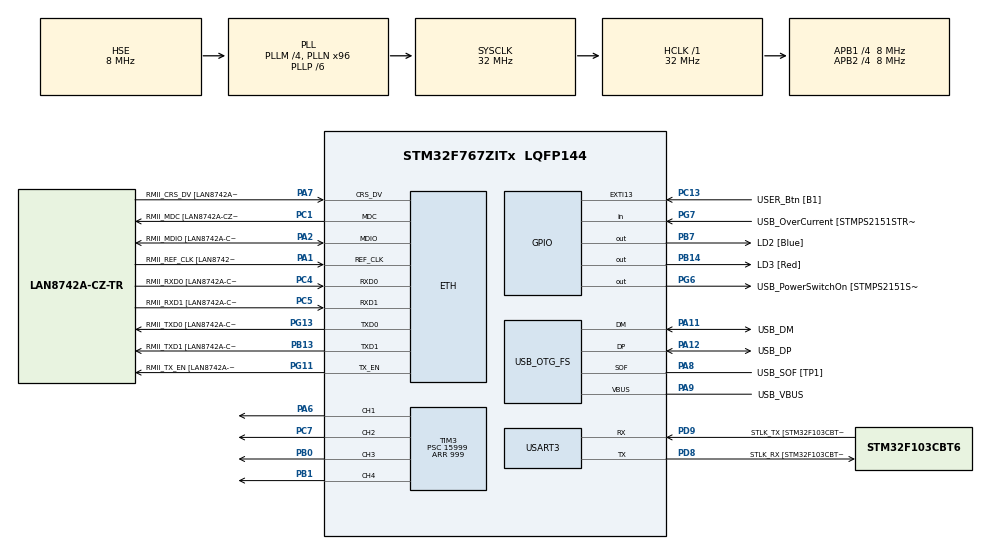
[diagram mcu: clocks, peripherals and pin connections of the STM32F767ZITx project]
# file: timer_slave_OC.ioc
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ETH.MediaInterface=HAL_ETH_RMII_MODE
ETH.PHY_Name=LAN8742A_PHY_ADDRESS
ETH.PHY_Value=0
ETH.PhyAddress=0
Mcu.Family=STM32F7
Mcu.Name=STM32F767ZITx
Mcu.Package=LQFP144
NVIC.PriorityGroup=NVIC_PRIORITYGROUP_4
NVIC.TIM3_IRQn=true\:0\:0\:false\:false\:true\:true\:true\:true
PA1.GPIO_Label=RMII_REF_CLK [LAN8742A-CZ-TR_REFCLK0]
PA1.Mode=RMII
PA1.Signal=ETH_REF_CLK
PA10.GPIO_Label=USB_ID
PA10.Signal=USB_OTG_FS_ID
PA11.GPIO_Label=USB_DM
PA11.Mode=Device_Only
PA11.Signal=USB_OTG_FS_DM
PA12.GPIO_Label=USB_DP
PA12.Mode=Device_Only
PA12.Signal=USB_OTG_FS_DP
PA13.GPIO_Label=TMS
PA13.Mode=Serial_Wire
PA13.Signal=SYS_JTMS-SWDIO
PA14.GPIO_Label=TCK
PA14.Mode=Serial_Wire
PA14.Signal=SYS_JTCK-SWCLK
PA2.GPIO_Label=RMII_MDIO [LAN8742A-CZ-TR_MDIO]
PA2.Mode=RMII
PA2.Signal=ETH_MDIO
PA6.Signal=S_TIM3_CH1
PA7.GPIO_Label=RMII_CRS_DV [LAN8742A-CZ-TR_CRS_DV]
PA7.Mode=RMII
PA7.Signal=ETH_CRS_DV
PA8.GPIO_Label=USB_SOF [TP1]
PA8.Mode=Activate_SOF_FS
PA8.Signal=USB_OTG_FS_SOF
PA9.GPIO_Label=USB_VBUS
PA9.Mode=Activate_VBUS
PA9.Signal=USB_OTG_FS_VBUS
PB0.Signal=S_TIM3_CH3
PB1.Signal=S_TIM3_CH4
PB13.GPIO_Label=RMII_TXD1 [LAN8742A-CZ-TR_TXD1]
PB13.Mode=RMII
PB13.Signal=ETH_TXD1
PB14.GPIO_Label=LD3 [Red]
PB14.Signal=GPIO_Output
PB3.GPIO_Label=SWO
PB3.Signal=SYS_JTDO-SWO
PB7.GPIO_Label=LD2 [Blue]
PB7.Signal=GPIO_Output
PC1.GPIO_Label=RMII_MDC [LAN8742A-CZ-TR_MDC]
PC1.Mode=RMII
PC1.Signal=ETH_MDC
PC13.GPIO_Label=USER_Btn [B1]
PC13.Signal=GPXTI13
PC14/OSC32_IN.Mode=LSE-External-Oscillator
PC14/OSC32_IN.Signal=RCC_OSC32_IN
PC15/OSC32_OUT.Mode=LSE-External-Oscillator
PC15/OSC32_OUT.Signal=RCC_OSC32_OUT
PC4.GPIO_Label=RMII_RXD0 [LAN8742A-CZ-TR_RXD0]
PC4.Mode=RMII
PC4.Signal=ETH_RXD0
PC5.GPIO_Label=RMII_RXD1 [LAN8742A-CZ-TR_RXD1]
PC5.Mode=RMII
PC5.Signal=ETH_RXD1
PC7.Signal=S_TIM3_CH2
PD8.GPIO_Label=STLK_RX [STM32F103CBT6_PA3]
PD8.Mode=Asynchronous
PD8.Signal=USART3_TX
PD9.GPIO_Label=STLK_TX [STM32F103CBT6_PA2]
PD9.Mode=Asynchronous
PD9.Signal=USART3_RX
PG11.GPIO_Label=RMII_TX_EN [LAN8742A-CZ-TR_TXEN]
PG11.Mode=RMII
PG11.Signal=ETH_TX_EN
PG13.GPIO_Label=RMII_TXD0 [LAN8742A-CZ-TR_TXD0]
PG13.Mode=RMII
PG13.Signal=ETH_TXD0
PG6.GPIO_Label=USB_PowerSwitchOn [STMPS2151STR_EN]
PG6.Signal=GPIO_Output
PG7.GPIO_Label=USB_OverCurrent [STMPS2151STR_FAULT]
PG7.Signal=GPIO_Input
PH0/OSC_IN.GPIO_Label=MCO [STM32F103CBT6_PA8]
PH0/OSC_IN.Mode=HSE-External-Clock-Source
PH0/OSC_IN.Signal=RCC_OSC_IN
PH1/OSC_OUT.Mode=HSE-External-Clock-Source
PH1/OSC_OUT.Signal=RCC_OSC_OUT
ProjectManager.HeapSize=0x200
ProjectManager.StackSize=0x400
ProjectManager.TargetToolchain=STM32CubeIDE
RCC.48MHZClocksFreq_Value=24000000
RCC.AHBFreq_Value=32000000
RCC.APB1CLKDivider=RCC_HCLK_DIV4
RCC.APB1Freq_Value=8000000
RCC.APB1TimFreq_Value=16000000
RCC.APB2CLKDivider=RCC_HCLK_DIV4
RCC.APB2Freq_Value=8000000
RCC.APB2TimFreq_Value=16000000
RCC.CortexFreq_Value=32000000
RCC.HCLKFreq_Value=32000000
RCC.HSE_VALUE=8000000
RCC.HSI_VALUE=16000000
RCC.PLLM=4
RCC.PLLMUL=RCC_PLL_MUL9
RCC.PLLN=96
RCC.PLLP=RCC_PLLP_DIV6
RCC.PLLQ=4
RCC.PRESCALERUSB=RCC_USBCLKSOURCE_PLL_DIV1_5
RCC.SYSCLKFreq_VALUE=32000000
RCC.SYSCLKSource=RCC_SYSCLKSOURCE_PLLCLK
RCC.SYSCLKSourceVirtual=RCC_SYSCLKSOURCE_PLLCLK
RCC.USBFreq_Value=48000000
RCC.VCOOutputFreq_Value=192000000
SH.S_TIM3_CH1.0=TIM3_CH1,Output Compare1 CH1
SH.S_TIM3_CH2.0=TIM3_CH2,Output Compare2 CH2
SH.S_TIM3_CH3.0=TIM3_CH3,Output Compare3 CH3
SH.S_TIM3_CH4.0=TIM3_CH4,Output Compare4 CH4
TIM3.Channel-Output\ Compare1\ CH1=TIM_CHANNEL_1
TIM3.Channel-Output\ Compare2\ CH2=TIM_CHANNEL_2
TIM3.Channel-Output\ Compare3\ CH3=TIM_CHANNEL_3
TIM3.Channel-Output\ Compare4\ CH4=TIM_CHANNEL_4
TIM3.OCMode_1=TIM_OCMODE_TOGGLE
TIM3.OCMode_2=TIM_OCMODE_TOGGLE
TIM3.OCMode_3=TIM_OCMODE_TOGGLE
TIM3.OCMode_4=TIM_OCMODE_TOGGLE
TIM3.Period=999
TIM3.Prescaler=15999
TIM3.Pulse-Output\ Compare1\ CH1=249
TIM3.Pulse-Output\ Compare2\ CH2=499
TIM3.Pulse-Output\ Compare3\ CH3=999
USART3.VirtualMode-Asynchronous=VM_ASYNC
USB_OTG_FS.VirtualMode=Device_Only
VP_TIM3_VS_ClockSourceINT.Mode=Internal
board=NUCLEO-F767ZI

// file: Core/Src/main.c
/* USER CODE BEGIN Header */
/**
  ******************************************************************************
  * @file           : main.c
  * @brief          : Main program body
  ******************************************************************************
  * @attention
  *
  * Copyright (c) 2026 STMicroelectronics.
  * All rights reserved.
  *
  * This software is licensed under terms that can be found in the LICENSE file
  * in the root directory of this software component.
  * If no LICENSE file comes with this software, it is provided AS-IS.
  *
  ******************************************************************************
  */
/* USER CODE END Header */
#include "main.h"
#include "string.h"

#if defined ( __ICCARM__ ) /*!< IAR Compiler */
#pragma location=0x2007c000
ETH_DMADescTypeDef  DMARxDscrTab[ETH_RX_DESC_CNT]; /* Ethernet Rx DMA Descriptors */
#pragma location=0x2007c0a0
ETH_DMADescTypeDef  DMATxDscrTab[ETH_TX_DESC_CNT]; /* Ethernet Tx DMA Descriptors */

#elif defined ( __CC_ARM )  /* MDK ARM Compiler */

__attribute__((at(0x2007c000))) ETH_DMADescTypeDef  DMARxDscrTab[ETH_RX_DESC_CNT]; /* Ethernet Rx DMA Descriptors */
__attribute__((at(0x2007c0a0))) ETH_DMADescTypeDef  DMATxDscrTab[ETH_TX_DESC_CNT]; /* Ethernet Tx DMA Descriptors */

#elif defined ( __GNUC__ ) /* GNU Compiler */

ETH_DMADescTypeDef DMARxDscrTab[ETH_RX_DESC_CNT] __attribute__((section(".RxDecripSection"))); /* Ethernet Rx DMA Descriptors */
ETH_DMADescTypeDef DMATxDscrTab[ETH_TX_DESC_CNT] __attribute__((section(".TxDecripSection")));   /* Ethernet Tx DMA Descriptors */
#endif

ETH_TxPacketConfig TxConfig;

ETH_HandleTypeDef heth;

TIM_HandleTypeDef htim3;

UART_HandleTypeDef huart3;

PCD_HandleTypeDef hpcd_USB_OTG_FS;

/* USER CODE BEGIN PV */
uint32_t presstime = 0;
uint32_t relase_time = 0;
uint32_t durationtime = 0;
uint8_t press = 0;
/* USER CODE END PV */

void SystemClock_Config(void);
static void MX_GPIO_Init(void);
static void MX_ETH_Init(void);
static void MX_USART3_UART_Init(void);
static void MX_USB_OTG_FS_PCD_Init(void);
static void MX_TIM3_Init(void);

/* USER CODE BEGIN 0 */
void HAL_TIM_IC_CaptureCallback(TIM_HandleTypeDef *htim)
{
    if(htim->Instance == TIM3 && htim->Channel == HAL_TIM_ACTIVE_CHANNEL_1)
    {
        // 1. Yazım hatası düzeltildi: captured_value
        uint32_t captured_value = HAL_TIM_ReadCapturedValue(htim, TIM_CHANNEL_1);

        if(press == 0) // İlk kenar (Yükselen veya Alçalan)
        {
            presstime = captured_value;
            press = 1;
        }
        else // İkinci kenar
        {
            relase_time = captured_value;

            if(relase_time >= presstime)
            {
                durationtime = relase_time - presstime;
            }
            else
            {
                /* 2. Timer 16-bit olduğu için (65535) 0xFFFF kullanılmalı */
                /* Ya da daha basitçe: */
                durationtime = (htim->Instance->ARR - presstime) + relase_time + 1;
            }
            press = 0;
        }
    }
}
/* USER CODE END 0 */

int main(void)
{

  /* MCU Configuration--------------------------------------------------------*/

  /* Reset of all peripherals, Initializes the Flash interface and the Systick. */
  HAL_Init();

  /* Configure the system clock */
  SystemClock_Config();

  /* Initialize all configured peripherals */
  MX_GPIO_Init();
  MX_ETH_Init();
  MX_USART3_UART_Init();
  MX_USB_OTG_FS_PCD_Init();
  MX_TIM3_Init();
  /* USER CODE BEGIN 2 */
HAL_TIM_OC_Start(&htim3,TIM_CHANNEL_1);
HAL_TIM_OC_Start(&htim3,TIM_CHANNEL_2);
HAL_TIM_OC_Start(&htim3,TIM_CHANNEL_3);
HAL_TIM_OC_Start(&htim3,TIM_CHANNEL_4);
  /* USER CODE END 2 */

  /* Infinite loop */
  while (1)
  {

  }
}

void SystemClock_Config(void)
{
  RCC_OscInitTypeDef RCC_OscInitStruct = {0};
  RCC_ClkInitTypeDef RCC_ClkInitStruct = {0};

  /** Configure LSE Drive Capability
  */
  HAL_PWR_EnableBkUpAccess();

  /** Configure the main internal regulator output voltage
  */
  __HAL_RCC_PWR_CLK_ENABLE();
  __HAL_PWR_VOLTAGESCALING_CONFIG(PWR_REGULATOR_VOLTAGE_SCALE3);

  /** Initializes the RCC Oscillators according to the specified parameters
  * in the RCC_OscInitTypeDef structure.
  */
  RCC_OscInitStruct.OscillatorType = RCC_OSCILLATORTYPE_HSE;
  RCC_OscInitStruct.HSEState = RCC_HSE_BYPASS;
  RCC_OscInitStruct.PLL.PLLState = RCC_PLL_ON;
  RCC_OscInitStruct.PLL.PLLSource = RCC_PLLSOURCE_HSE;
  RCC_OscInitStruct.PLL.PLLM = 4;
  RCC_OscInitStruct.PLL.PLLN = 96;
  RCC_OscInitStruct.PLL.PLLP = RCC_PLLP_DIV6;
  RCC_OscInitStruct.PLL.PLLQ = 4;
  RCC_OscInitStruct.PLL.PLLR = 2;
  if (HAL_RCC_OscConfig(&RCC_OscInitStruct) != HAL_OK)
  {
    Error_Handler();
  }

  /** Initializes the CPU, AHB and APB buses clocks
  */
  RCC_ClkInitStruct.ClockType = RCC_CLOCKTYPE_HCLK|RCC_CLOCKTYPE_SYSCLK
                              |RCC_CLOCKTYPE_PCLK1|RCC_CLOCKTYPE_PCLK2;
  RCC_ClkInitStruct.SYSCLKSource = RCC_SYSCLKSOURCE_PLLCLK;
  RCC_ClkInitStruct.AHBCLKDivider = RCC_SYSCLK_DIV1;
  RCC_ClkInitStruct.APB1CLKDivider = RCC_HCLK_DIV4;
  RCC_ClkInitStruct.APB2CLKDivider = RCC_HCLK_DIV4;

  if (HAL_RCC_ClockConfig(&RCC_ClkInitStruct, FLASH_LATENCY_1) != HAL_OK)
  {
    Error_Handler();
  }
}

static void MX_ETH_Init(void)
{

   static uint8_t MACAddr[6];

  heth.Instance = ETH;
  MACAddr[0] = 0x00;
  MACAddr[1] = 0x80;
  MACAddr[2] = 0xE1;
  MACAddr[3] = 0x00;
  MACAddr[4] = 0x00;
  MACAddr[5] = 0x00;
  heth.Init.MACAddr = &MACAddr[0];
  heth.Init.MediaInterface = HAL_ETH_RMII_MODE;
  heth.Init.TxDesc = DMATxDscrTab;
  heth.Init.RxDesc = DMARxDscrTab;
  heth.Init.RxBuffLen = 1524;

  if (HAL_ETH_Init(&heth) != HAL_OK)
  {
    Error_Handler();
  }

  memset(&TxConfig, 0 , sizeof(ETH_TxPacketConfig));
  TxConfig.Attributes = ETH_TX_PACKETS_FEATURES_CSUM | ETH_TX_PACKETS_FEATURES_CRCPAD;
  TxConfig.ChecksumCtrl = ETH_CHECKSUM_IPHDR_PAYLOAD_INSERT_PHDR_CALC;
  TxConfig.CRCPadCtrl = ETH_CRC_PAD_INSERT;

}

static void MX_TIM3_Init(void)
{

  TIM_ClockConfigTypeDef sClockSourceConfig = {0};
  TIM_MasterConfigTypeDef sMasterConfig = {0};
  TIM_OC_InitTypeDef sConfigOC = {0};

  htim3.Instance = TIM3;
  htim3.Init.Prescaler = 15999;
  htim3.Init.CounterMode = TIM_COUNTERMODE_UP;
  htim3.Init.Period = 999;
  htim3.Init.ClockDivision = TIM_CLOCKDIVISION_DIV1;
  htim3.Init.AutoReloadPreload = TIM_AUTORELOAD_PRELOAD_DISABLE;
  if (HAL_TIM_Base_Init(&htim3) != HAL_OK)
  {
    Error_Handler();
  }
  sClockSourceConfig.ClockSource = TIM_CLOCKSOURCE_INTERNAL;
  if (HAL_TIM_ConfigClockSource(&htim3, &sClockSourceConfig) != HAL_OK)
  {
    Error_Handler();
  }
  if (HAL_TIM_OC_Init(&htim3) != HAL_OK)
  {
    Error_Handler();
  }
  sMasterConfig.MasterOutputTrigger = TIM_TRGO_RESET;
  sMasterConfig.MasterSlaveMode = TIM_MASTERSLAVEMODE_DISABLE;
  if (HAL_TIMEx_MasterConfigSynchronization(&htim3, &sMasterConfig) != HAL_OK)
  {
    Error_Handler();
  }
  sConfigOC.OCMode = TIM_OCMODE_TOGGLE;
  sConfigOC.Pulse = 249;
  sConfigOC.OCPolarity = TIM_OCPOLARITY_HIGH;
  sConfigOC.OCFastMode = TIM_OCFAST_DISABLE;
  if (HAL_TIM_OC_ConfigChannel(&htim3, &sConfigOC, TIM_CHANNEL_1) != HAL_OK)
  {
    Error_Handler();
  }
  sConfigOC.Pulse = 499;
  if (HAL_TIM_OC_ConfigChannel(&htim3, &sConfigOC, TIM_CHANNEL_2) != HAL_OK)
  {
    Error_Handler();
  }
  sConfigOC.Pulse = 999;
  if (HAL_TIM_OC_ConfigChannel(&htim3, &sConfigOC, TIM_CHANNEL_3) != HAL_OK)
  {
    Error_Handler();
  }
  sConfigOC.Pulse = 0;
  if (HAL_TIM_OC_ConfigChannel(&htim3, &sConfigOC, TIM_CHANNEL_4) != HAL_OK)
  {
    Error_Handler();
  }
  HAL_TIM_MspPostInit(&htim3);

}

static void MX_USART3_UART_Init(void)
{

  huart3.Instance = USART3;
  huart3.Init.BaudRate = 115200;
  huart3.Init.WordLength = UART_WORDLENGTH_8B;
  huart3.Init.StopBits = UART_STOPBITS_1;
  huart3.Init.Parity = UART_PARITY_NONE;
  huart3.Init.Mode = UART_MODE_TX_RX;
  huart3.Init.HwFlowCtl = UART_HWCONTROL_NONE;
  huart3.Init.OverSampling = UART_OVERSAMPLING_16;
  huart3.Init.OneBitSampling = UART_ONE_BIT_SAMPLE_DISABLE;
  huart3.AdvancedInit.AdvFeatureInit = UART_ADVFEATURE_NO_INIT;
  if (HAL_UART_Init(&huart3) != HAL_OK)
  {
    Error_Handler();
  }

}

static void MX_USB_OTG_FS_PCD_Init(void)
{

  hpcd_USB_OTG_FS.Instance = USB_OTG_FS;
  hpcd_USB_OTG_FS.Init.dev_endpoints = 6;
  hpcd_USB_OTG_FS.Init.speed = PCD_SPEED_FULL;
  hpcd_USB_OTG_FS.Init.dma_enable = DISABLE;
  hpcd_USB_OTG_FS.Init.phy_itface = PCD_PHY_EMBEDDED;
  hpcd_USB_OTG_FS.Init.Sof_enable = ENABLE;
  hpcd_USB_OTG_FS.Init.low_power_enable = DISABLE;
  hpcd_USB_OTG_FS.Init.lpm_enable = DISABLE;
  hpcd_USB_OTG_FS.Init.vbus_sensing_enable = ENABLE;
  hpcd_USB_OTG_FS.Init.use_dedicated_ep1 = DISABLE;
  if (HAL_PCD_Init(&hpcd_USB_OTG_FS) != HAL_OK)
  {
    Error_Handler();
  }

}

static void MX_GPIO_Init(void)
{
  GPIO_InitTypeDef GPIO_InitStruct = {0};

  /* GPIO Ports Clock Enable */
  __HAL_RCC_GPIOC_CLK_ENABLE();
  __HAL_RCC_GPIOH_CLK_ENABLE();
  __HAL_RCC_GPIOA_CLK_ENABLE();
  __HAL_RCC_GPIOB_CLK_ENABLE();
  __HAL_RCC_GPIOD_CLK_ENABLE();
  __HAL_RCC_GPIOG_CLK_ENABLE();

  /*Configure GPIO pin Output Level */
  HAL_GPIO_WritePin(GPIOB, LD3_Pin|LD2_Pin, GPIO_PIN_RESET);

  /*Configure GPIO pin Output Level */
  HAL_GPIO_WritePin(USB_PowerSwitchOn_GPIO_Port, USB_PowerSwitchOn_Pin, GPIO_PIN_RESET);

  /*Configure GPIO pin : USER_Btn_Pin */
  GPIO_InitStruct.Pin = USER_Btn_Pin;
  GPIO_InitStruct.Mode = GPIO_MODE_IT_RISING;
  GPIO_InitStruct.Pull = GPIO_NOPULL;
  HAL_GPIO_Init(USER_Btn_GPIO_Port, &GPIO_InitStruct);

  /*Configure GPIO pins : LD3_Pin LD2_Pin */
  GPIO_InitStruct.Pin = LD3_Pin|LD2_Pin;
  GPIO_InitStruct.Mode = GPIO_MODE_OUTPUT_PP;
  GPIO_InitStruct.Pull = GPIO_NOPULL;
  GPIO_InitStruct.Speed = GPIO_SPEED_FREQ_LOW;
  HAL_GPIO_Init(GPIOB, &GPIO_InitStruct);

  /*Configure GPIO pin : USB_PowerSwitchOn_Pin */
  GPIO_InitStruct.Pin = USB_PowerSwitchOn_Pin;
  GPIO_InitStruct.Mode = GPIO_MODE_OUTPUT_PP;
  GPIO_InitStruct.Pull = GPIO_NOPULL;
  GPIO_InitStruct.Speed = GPIO_SPEED_FREQ_LOW;
  HAL_GPIO_Init(USB_PowerSwitchOn_GPIO_Port, &GPIO_InitStruct);

  /*Configure GPIO pin : USB_OverCurrent_Pin */
  GPIO_InitStruct.Pin = USB_OverCurrent_Pin;
  GPIO_InitStruct.Mode = GPIO_MODE_INPUT;
  GPIO_InitStruct.Pull = GPIO_NOPULL;
  HAL_GPIO_Init(USB_OverCurrent_GPIO_Port, &GPIO_InitStruct);

}

void Error_Handler(void)
{
  __disable_irq();
  while (1)
  {
  }
}
